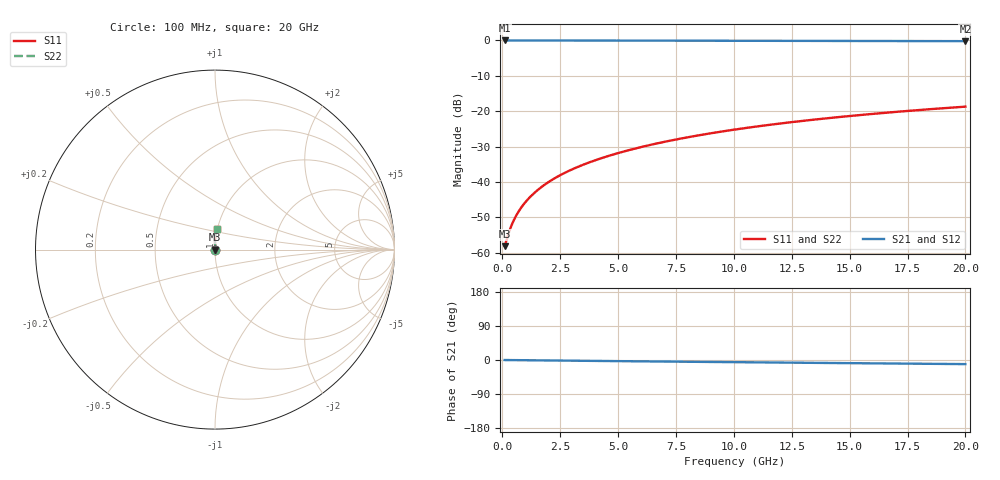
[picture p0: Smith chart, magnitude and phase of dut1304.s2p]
! Touchstone file exported from HFSS 2024.1.0
!  File:  C:/UserFiles/LocalFiles/RDL_TSV_Batchsim/temp_RDL_bottom_1304_1780368208.aedt
!  Generated:  10:46:06 AM Jun  2, 2026
!  Design:  RDL_bottom
!  Project:  temp_RDL_bottom_1304_1780368208
!  Setup:  Setup1
!  Solution:  Sweep
! Variables:
!  dtsv = 10.80580581um
!  hbump = 3um
!  htsv = 89.88um
!  ldown = 130.37um
!  lrdl = 100um
!  p = 40
!  p1 = 43.9um
!  rhole = 1um
!  t = 450um
!  tdown = 2.55um
!  trdl = 3.915915916um
!  wdown = 23.54um
!  wrdl = 20um
# GHz S MA R 50.000000
! Terminal data exported
! Port[1] = RDL1_T1
! Port[2] = RDL1_T2
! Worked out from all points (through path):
!   200 points, 100 MHz to 20 GHz, reference 50 ohm
!   highest |S21| = -0.01 dB at 100 MHz (marker M1); lowest = -0.2 dB at 20 GHz (marker M2)
!   group delay of S21, straight-line fit = 1.49 ps
!   lowest |S11| = -58.1 dB at 100 MHz (marker M3), VSWR 1.00, Z = 50.1 + j0.0556 ohm
!   |S11| at or under -10 dB: start of sweep to end of sweep
!   |S22| runs from -58.1 to -18.7 dB; largest |S21 - S12| = 2.1e-15
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0.1  0.001244 26.5  0.9989 -0.1  0.9989 -0.1  0.001244 26.5
! Gamma 0 0 0 0
! Port Impedance 50 0 50 0
0.3  0.002006 53.8  0.9988 -0.2  0.9988 -0.2  0.002006 53.8
0.4  0.002453 60.1  0.9987 -0.3  0.9987 -0.3  0.002453 60.1
0.5  0.002907 64.4  0.9987 -0.3  0.9987 -0.3  0.002907 64.4
0.6  0.003363 67.7  0.9986 -0.4  0.9986 -0.4  0.003363 67.7
0.7  0.003822 70.2  0.9986 -0.4  0.9986 -0.4  0.003822 70.2
0.9  0.004745 74.0  0.9985 -0.6  0.9985 -0.6  0.004745 74.0
1.2  0.006152 77.8  0.9984 -0.7  0.9984 -0.7  0.006152 77.8
1.4  0.007104 79.6  0.9983 -0.9  0.9983 -0.9  0.007104 79.6
1.7  0.00855 81.7  0.9981 -1.0  0.9981 -1.0  0.00855 81.7
2.2  0.011 84.2  0.9978 -1.4  0.9978 -1.4  0.011 84.2
2.8  0.01401 86.1  0.9973 -1.7  0.9973 -1.7  0.01401 86.1
3.5  0.01761 87.7  0.9967 -2.1  0.9967 -2.1  0.01761 87.7
4.2  0.02131 88.7  0.9959 -2.5  0.9959 -2.5  0.02131 88.7
5  0.02565 89.5  0.995 -3.0  0.995 -3.0  0.02565 89.5
5.9  0.03066 90.0  0.9939 -3.5  0.9939 -3.5  0.03066 90.0
6.8  0.03582 90.3  0.9927 -4.0  0.9927 -4.0  0.03582 90.3
8.4  0.04523 90.2  0.9906 -4.9  0.9906 -4.9  0.04523 90.2
10.1  0.05549 89.7  0.9883 -5.8  0.9883 -5.8  0.05549 89.7
13.4  0.07576 88.0  0.9841 -7.5  0.9841 -7.5  0.07576 88.0
16.7  0.09608 86.0  0.98 -9.2  0.98 -9.2  0.09608 86.0
20  0.1162 83.9  0.9762 -10.8  0.9762 -10.8  0.1162 83.9
